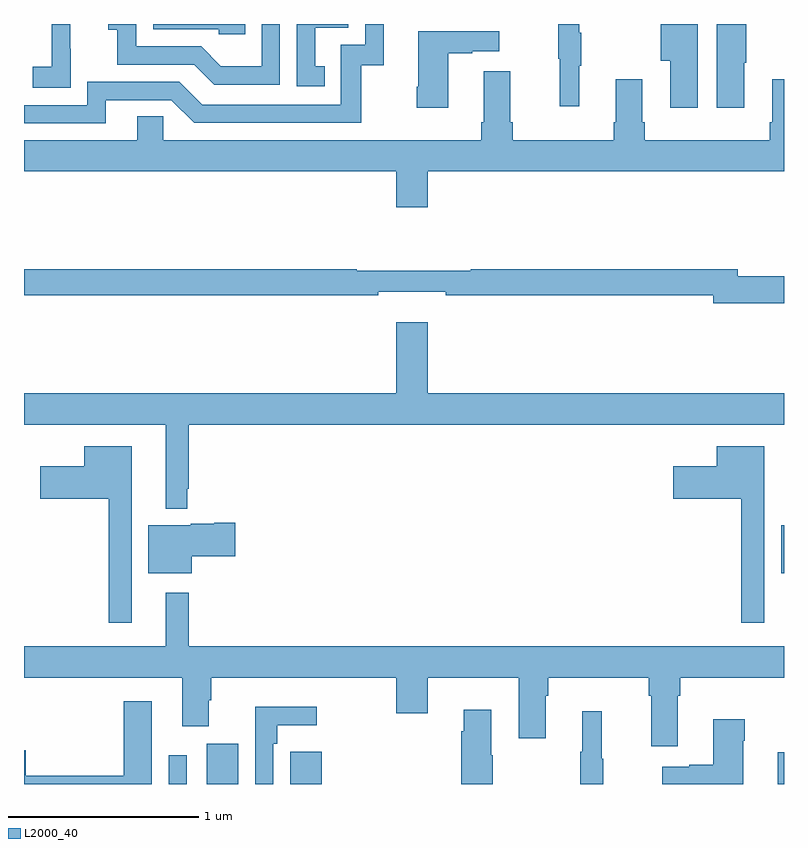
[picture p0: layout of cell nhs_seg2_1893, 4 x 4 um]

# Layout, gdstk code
import gdstk
lib = gdstk.Library(unit=1e-6, precision=1e-09)
def R(c, l, rs):  # rectangles x0, y0, x1, y1
    for r in rs: c.add(gdstk.rectangle(r[:2], r[2:], *l))
def P(c, l, *ps):  # polygons
    for p in ps: c.add(gdstk.Polygon(p, *l))
L2000_40 = (2000, 40)

nhs_seg2_1893 = lib.new_cell('nhs_seg2_1893')
R(nhs_seg2_1893, L2000_40, [(211.761,589.8,211.857,589.951), (211.961,589.8,212.128,590.011), (212.402,589.8,212.566,589.969), (214.967,589.8,215,589.966), (214.985,590.909,215,591.163)])
P(nhs_seg2_1893, L2000_40, [(213.923,593.579),(213.934,593.579),(213.934,593.753),(213.923,593.753),(213.923,593.8),(213.813,593.8),(213.813,593.616),(213.82,593.616),(213.82,593.367),(213.923,593.367)],
  [(211.429,593.4),(211.776,593.4),(211.896,593.28),(212.776,593.28),(212.776,593.583),(212.894,593.583),(212.894,593.8),(212.796,593.8),(212.796,593.691),(212.667,593.691),(212.667,593.376),(211.938,593.376),(211.818,593.496),(211.332,593.496),(211.332,593.373),(211,593.373),(211,593.277),(211.429,593.277)],
  [(212.346,593.8),(212.25,593.8),(212.25,593.578),(212.036,593.578),(211.932,593.682),(211.59,593.682),(211.59,593.8),(211.443,593.8),(211.443,593.771),(211.492,593.771),(211.492,593.586),(211.895,593.586),(212,593.481),(212.346,593.481)],
  [(212.582,593.577),(212.533,593.577),(212.533,593.781),(212.706,593.781),(212.706,593.8),(212.436,593.8),(212.436,593.472),(212.582,593.472)],
  [(212.165,593.8),(211.68,593.8),(211.68,593.772),(212.025,593.772),(212.025,593.745),(212.165,593.745)],
  [(211.245,593.671),(211.244,593.671),(211.244,593.8),(211.145,593.8),(211.145,593.575),(211.047,593.575),(211.047,593.465),(211.245,593.465)],
  [(214.792,593.596),(214.8,593.596),(214.8,593.8),(214.646,593.8),(214.646,593.358),(214.792,593.358)],
  [(214.546,593.8),(214.352,593.8),(214.352,593.606),(214.4,593.606),(214.4,593.358),(214.546,593.358)],
  [(213.232,593.647),(213.359,593.647),(213.359,593.657),(213.502,593.657),(213.502,593.761),(213.074,593.761),(213.074,593.47),(213.067,593.47),(213.067,593.358),(213.232,593.358)],
  [(213.124,593.024),(215,593.024),(215,593.509),(214.937,593.509),(214.937,593.284),(214.925,593.284),(214.925,593.188),(214.268,593.188),(214.268,593.284),(214.255,593.284),(214.255,593.509),(214.115,593.509),(214.115,593.284),(214.103,593.284),(214.103,593.188),(213.572,593.188),(213.572,593.284),(213.559,593.284),(213.559,593.551),(213.419,593.551),(213.419,593.284),(213.407,593.284),(213.407,593.188),(211.734,593.188),(211.734,593.315),(211.595,593.315),(211.595,593.188),(211,593.188),(211,593.024),(212.96,593.024),(212.96,592.836),(213.124,592.836)],
  [(215,592.472),(214.756,592.472),(214.756,592.508),(213.352,592.508),(213.352,592.501),(212.752,592.501),(212.752,592.508),(211,592.508),(211,592.372),(212.864,592.372),(212.864,592.391),(213.22,592.391),(213.22,592.372),(214.628,592.372),(214.628,592.33),(215,592.33)],
  [(211.859,591.355),(211.867,591.355),(211.867,591.692),(215,591.692),(215,591.856),(213.124,591.856),(213.124,592.231),(212.96,592.231),(212.96,591.856),(211,591.856),(211,591.692),(211.745,591.692),(211.745,591.248),(211.859,591.248)],
  [(214.897,591.577),(214.646,591.577),(214.646,591.472),(214.416,591.472),(214.416,591.302),(214.776,591.302),(214.776,590.649),(214.897,590.649)],
  [(211.567,591.577),(211.316,591.577),(211.316,591.472),(211.086,591.472),(211.086,591.302),(211.446,591.302),(211.446,590.649),(211.567,590.649)],
  [(211.882,590.998),(212.113,590.998),(212.113,591.176),(212,591.176),(212,591.169),(211.878,591.169),(211.878,591.163),(211.655,591.163),(211.655,590.909),(211.882,590.909)],
  [(214.441,590.264),(214.454,590.264),(214.454,590.36),(215,590.36),(215,590.524),(211.867,590.524),(211.867,590.806),(211.745,590.806),(211.745,590.524),(211,590.524),(211,590.36),(211.832,590.36),(211.832,590.103),(211.972,590.103),(211.972,590.24),(211.985,590.24),(211.985,590.36),(212.96,590.36),(212.96,590.172),(213.124,590.172),(213.124,590.36),(213.605,590.36),(213.605,590.04),(213.745,590.04),(213.745,590.264),(213.758,590.264),(213.758,590.36),(214.289,590.36),(214.289,590.264),(214.301,590.264),(214.301,589.998),(214.441,589.998)],
  [(211.672,590.236),(211.526,590.236),(211.526,589.844),(211.01,589.844),(211.01,589.978),(211,589.978),(211,589.8),(211.672,589.8)],
  [(212.313,590.012),(212.333,590.012),(212.333,590.108),(212.542,590.108),(212.542,590.206),(212.217,590.206),(212.217,589.8),(212.313,589.8)],
  [(213.468,589.952),(213.46,589.952),(213.46,590.191),(213.314,590.191),(213.314,590.078),(213.302,590.078),(213.302,589.8),(213.468,589.8)],
  [(214.048,589.932),(214.04,589.932),(214.04,590.182),(213.938,590.182),(213.938,589.969),(213.927,589.969),(213.927,589.8),(214.048,589.8)],
  [(214.786,590.027),(214.794,590.027),(214.794,590.14),(214.628,590.14),(214.628,589.901),(214.502,589.901),(214.502,589.891),(214.359,589.891),(214.359,589.8),(214.786,589.8)])

lib.write_gds('nhs_seg2_1893.gds')
